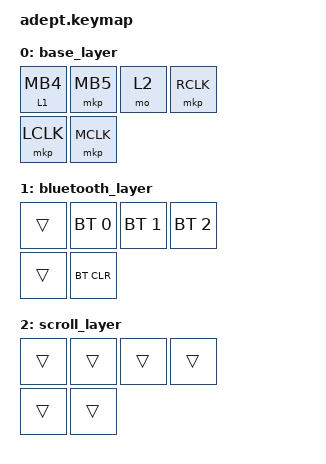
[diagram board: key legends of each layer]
#include <input/processors.dtsi>
#include <behaviors.dtsi>
#include <dt-bindings/zmk/bt.h>
#include <dt-bindings/zmk/pointing.h>
#include <dt-bindings/zmk/input_transform.h>

#define DEFAULT 0
#define BLUE 1
#define SCRL 2

&trackball_listener {
    scroller {
        layers = <SCRL>;
        // input-processors = <&zip_xy_transform INPUT_TRANSFORM_Y_INVERT>, <&zip_xy_to_scroll_mapper>;
        input-processors = <&zip_xy_scaler 1 30>, <&zip_x_scaler 0 1>, <&zip_xy_to_scroll_mapper>;
    };
};

/ {
    combos {
        compatible = "zmk,combos";

        bootloader {
            timeout-ms = <50>;
            key-positions = <3 0>;
            bindings = <&bootloader>;
        };
    };

    behaviors {
        mlt: mlt {
            compatible = "zmk,behavior-hold-tap";
            label = "MLT";
            bindings = <&mo>, <&mkp>;

            #binding-cells = <2>;
            tapping-term-ms = <200>;
            flavor = "tap-preferred";
        };
    };

    keymap {
        compatible = "zmk,keymap";

        base_layer {
            bindings = <
                &mlt 1 MB4  &mkp MB5   &mo 2  &mkp RCLK
                &mkp LCLK   &mkp MCLK
            >;
        };

        bluetooth_layer {
            bindings = <
                &trans  &bt BT_SEL 0  &bt BT_SEL 1  &bt BT_SEL 2
                &trans  &bt BT_CLR
            >;
        };

        scroll_layer {
            bindings = <
                &trans  &trans  &trans  &trans
                &trans  &trans
            >;
        };
    };
};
